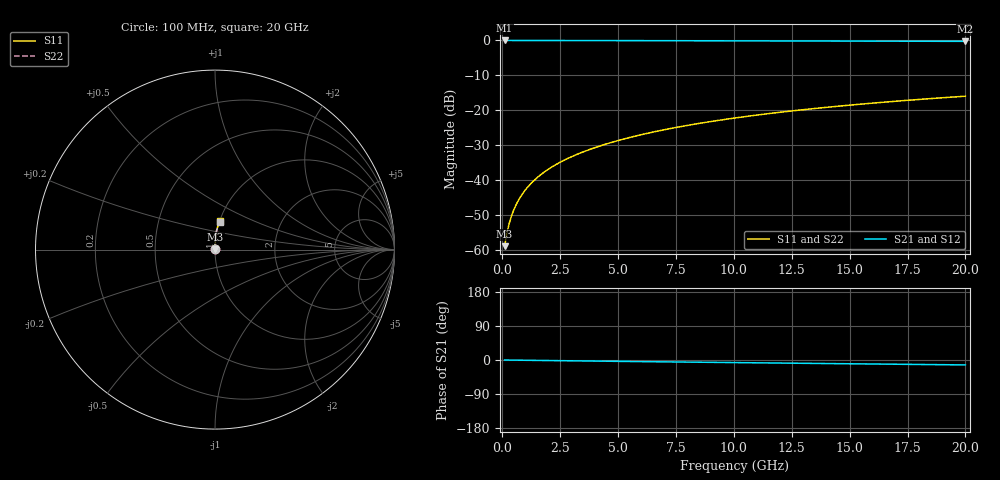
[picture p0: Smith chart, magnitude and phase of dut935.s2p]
! Touchstone file exported from HFSS 2024.1.0
!  File:  C:/UserFiles/LocalFiles/RDL_TSV_Batchsim/temp_RDL_top_935_1779937218.aedt
!  Generated:  11:03:34 AM May 28, 2026
!  Design:  RDL_top
!  Project:  temp_RDL_top_935_1779937218
!  Setup:  Setup1
!  Solution:  Sweep
! Variables:
!  dtsv = 10.80580581um
!  hbump = 3um
!  htsv = 77.93um
!  ldown = 100um
!  lrdl = 133.37um
!  p = 40
!  p1 = 56.48um
!  rhole = 1um
!  t = 450um
!  tdown = 3.915915916um
!  trdl = 3.52um
!  wdown = 15.38538539um
!  wrdl = 22.26um
# GHz S MA R 50.000000
! Terminal data exported
! Port[1] = Box2_T1
! Port[2] = Box2_T2
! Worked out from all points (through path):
!   200 points, 100 MHz to 20 GHz, reference 50 ohm
!   highest |S21| = -0.01 dB at 100 MHz (marker M1); lowest = -0.3 dB at 20 GHz (marker M2)
!   group delay of S21, straight-line fit = 1.79 ps
!   lowest |S11| = -59.0 dB at 100 MHz (marker M3), VSWR 1.00, Z = 50.1 + j0.0759 ohm
!   |S11| at or under -10 dB: start of sweep to end of sweep
!   |S22| runs from -59.0 to -16.0 dB; largest |S21 - S12| = 2.1e-15
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0.1  0.001122 42.5  0.9992 -0.1  0.9992 -0.1  0.001122 42.5
! Gamma 0 0 0 0
! Port Impedance 50 0 50 0
0.2  0.001727 60.2  0.9991 -0.2  0.9991 -0.2  0.001727 60.2
0.3  0.002392 68.2  0.9991 -0.2  0.9991 -0.2  0.002392 68.2
0.4  0.003069 72.7  0.999 -0.3  0.999 -0.3  0.003069 72.7
0.5  0.003751 75.6  0.999 -0.4  0.999 -0.4  0.003751 75.6
0.6  0.004437 77.7  0.999 -0.4  0.999 -0.4  0.004437 77.7
0.8  0.005819 80.6  0.9989 -0.6  0.9989 -0.6  0.005819 80.6
1.1  0.007913 83.2  0.9987 -0.8  0.9987 -0.8  0.007913 83.2
1.5  0.01074 85.2  0.9985 -1.1  0.9985 -1.1  0.01074 85.2
1.8  0.01287 86.1  0.9983 -1.3  0.9983 -1.3  0.01287 86.1
2.1  0.01503 86.9  0.9981 -1.5  0.9981 -1.5  0.01503 86.9
2.7  0.01938 87.8  0.9975 -2.0  0.9975 -2.0  0.01938 87.8
3.5  0.02529 88.6  0.9966 -2.5  0.9966 -2.5  0.02529 88.6
4.2  0.03056 89.0  0.9957 -3.0  0.9957 -3.0  0.03055 89.0
5  0.03669 89.2  0.9945 -3.6  0.9945 -3.6  0.03669 89.1
5.9  0.04371 89.2  0.9932 -4.2  0.9932 -4.2  0.04371 89.1
6.8  0.05086 89.0  0.9917 -4.8  0.9917 -4.8  0.05086 89.0
8.4  0.06379 88.4  0.9891 -5.8  0.9891 -5.8  0.06378 88.4
10.1  0.07772 87.5  0.9864 -6.9  0.9864 -6.9  0.07772 87.5
13.4  0.1049 85.3  0.9811 -9.0  0.9811 -9.0  0.1049 85.3
16.7  0.132 83.0  0.9758 -11.0  0.9758 -11.0  0.132 83.0
20  0.1587 80.6  0.9704 -13.0  0.9704 -13.0  0.1587 80.6
